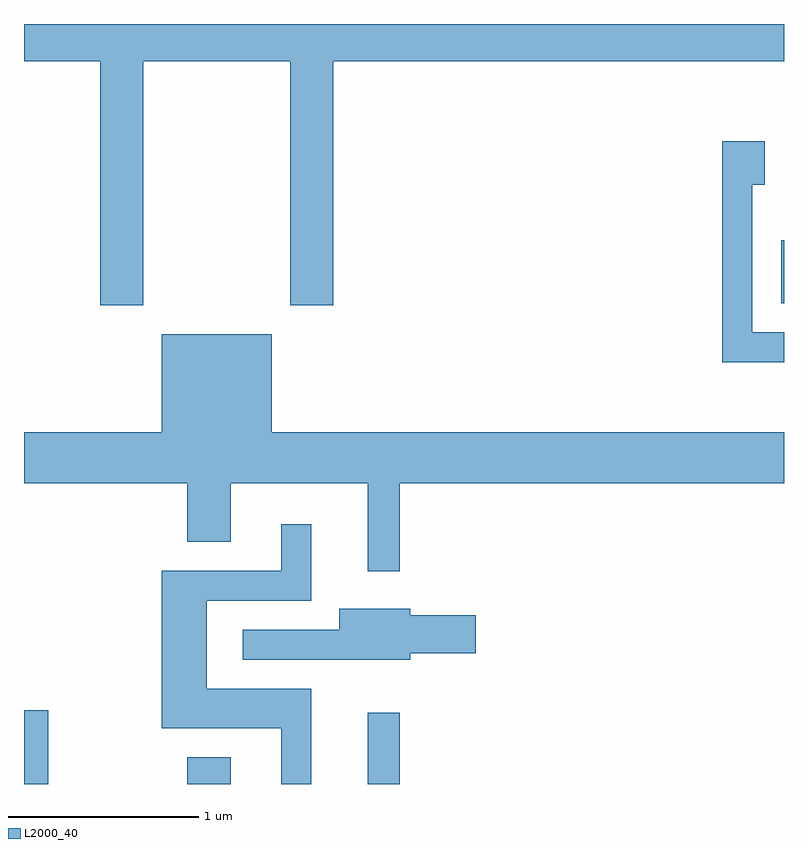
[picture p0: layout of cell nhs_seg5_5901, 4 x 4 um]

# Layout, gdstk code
import gdstk
lib = gdstk.Library(unit=1e-6, precision=1e-09)
def R(c, l, rs):  # rectangles x0, y0, x1, y1
    for r in rs: c.add(gdstk.rectangle(r[:2], r[2:], *l))
def P(c, l, *ps):  # polygons
    for p in ps: c.add(gdstk.Polygon(p, *l))
L2000_40 = (2000, 40)

nhs_seg5_5901 = lib.new_cell('nhs_seg5_5901')
R(nhs_seg5_5901, L2000_40, [(359.611,1484.072,359.739,1484.459), (360.471,1484.072,360.699,1484.214), (361.421,1484.072,361.589,1484.448), (363.596,1486.601,363.611,1486.934)])
P(nhs_seg5_5901, L2000_40, [(360.239,1487.876),(361.011,1487.876),(361.011,1486.591),(361.239,1486.591),(361.239,1487.876),(363.611,1487.876),(363.611,1488.072),(359.611,1488.072),(359.611,1487.876),(360.011,1487.876),(360.011,1486.591),(360.239,1486.591)],
  [(363.611,1486.449),(363.444,1486.449),(363.444,1487.226),(363.509,1487.226),(363.509,1487.454),(363.286,1487.454),(363.286,1486.291),(363.611,1486.291)],
  [(361.589,1485.656),(363.611,1485.656),(363.611,1485.924),(360.914,1485.924),(360.914,1486.439),(360.336,1486.439),(360.336,1485.924),(359.611,1485.924),(359.611,1485.656),(360.471,1485.656),(360.471,1485.346),(360.699,1485.346),(360.699,1485.656),(361.421,1485.656),(361.421,1485.193),(361.589,1485.193)],
  [(361.124,1484.574),(360.574,1484.574),(360.574,1485.036),(361.124,1485.036),(361.124,1485.438),(360.966,1485.438),(360.966,1485.194),(360.336,1485.194),(360.336,1484.366),(360.966,1484.366),(360.966,1484.072),(361.124,1484.072)],
  [(361.644,1484.761),(361.989,1484.761),(361.989,1484.959),(361.644,1484.959),(361.644,1484.994),(361.271,1484.994),(361.271,1484.884),(360.763,1484.884),(360.763,1484.726),(361.644,1484.726)])

lib.write_gds('nhs_seg5_5901.gds')
